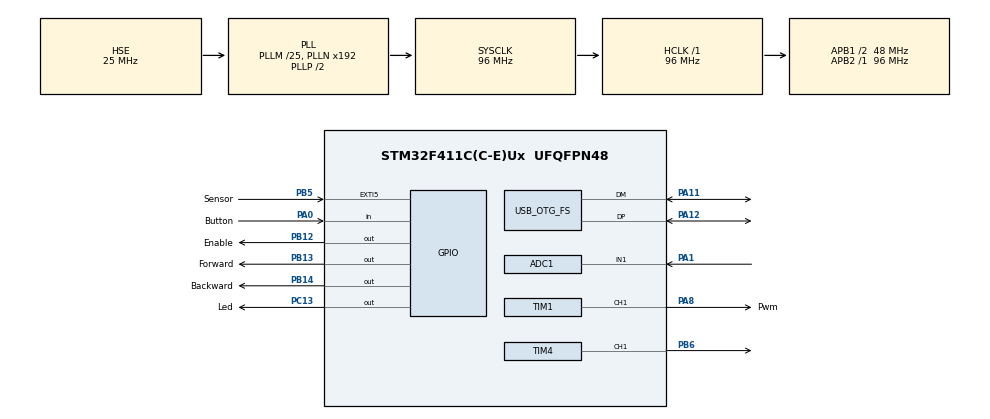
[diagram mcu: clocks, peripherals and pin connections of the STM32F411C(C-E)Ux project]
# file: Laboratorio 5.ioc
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ADC1.Channel-0\#ChannelRegularConversion=ADC_CHANNEL_1
ADC1.ContinuousConvMode=ENABLE
ADC1.NbrOfConversionFlag=1
ADC1.Rank-0\#ChannelRegularConversion=1
ADC1.SamplingTime-0\#ChannelRegularConversion=ADC_SAMPLETIME_3CYCLES
ADC1.master=1
Mcu.Family=STM32F4
Mcu.Name=STM32F411C(C-E)Ux
Mcu.Package=UFQFPN48
NVIC.OTG_FS_IRQn=true\:0\:0\:false\:false\:true\:false\:true\:true
NVIC.PriorityGroup=NVIC_PRIORITYGROUP_4
PA0-WKUP.GPIO_Label=Button
PA0-WKUP.Signal=GPIO_Input
PA1.Signal=ADCx_IN1
PA11.Mode=Device_Only
PA11.Signal=USB_OTG_FS_DM
PA12.Mode=Device_Only
PA12.Signal=USB_OTG_FS_DP
PA13.Mode=Serial_Wire
PA13.Signal=SYS_JTMS-SWDIO
PA14.Mode=Serial_Wire
PA14.Signal=SYS_JTCK-SWCLK
PA8.GPIO_Label=Pwm
PA8.Signal=S_TIM1_CH1
PB12.GPIO_Label=Enable
PB12.Signal=GPIO_Output
PB13.GPIO_Label=Forward
PB13.Signal=GPIO_Output
PB14.GPIO_Label=Backward
PB14.Signal=GPIO_Output
PB5.GPIO_Label=Sensor
PB5.Signal=GPXTI5
PB6.Signal=S_TIM4_CH1
PC13-ANTI_TAMP.GPIO_Label=Led
PC13-ANTI_TAMP.Signal=GPIO_Output
PH0\ -\ OSC_IN.Mode=HSE-External-Oscillator
PH0\ -\ OSC_IN.Signal=RCC_OSC_IN
PH1\ -\ OSC_OUT.Mode=HSE-External-Oscillator
PH1\ -\ OSC_OUT.Signal=RCC_OSC_OUT
ProjectManager.HeapSize=0x200
ProjectManager.StackSize=0x400
ProjectManager.TargetToolchain=STM32CubeIDE
RCC.48MHZClocksFreq_Value=48000000
RCC.AHBFreq_Value=96000000
RCC.APB1CLKDivider=RCC_HCLK_DIV2
RCC.APB1Freq_Value=48000000
RCC.APB1TimFreq_Value=96000000
RCC.APB2Freq_Value=96000000
RCC.APB2TimFreq_Value=96000000
RCC.CortexFreq_Value=96000000
RCC.HCLKFreq_Value=96000000
RCC.HSE_VALUE=25000000
RCC.HSI_VALUE=16000000
RCC.LSE_VALUE=32768
RCC.PLLM=25
RCC.SYSCLKFreq_VALUE=96000000
RCC.SYSCLKSource=RCC_SYSCLKSOURCE_PLLCLK
RCC.VCOOutputFreq_Value=192000000
SH.ADCx_IN1.0=ADC1_IN1,IN1
SH.S_TIM1_CH1.0=TIM1_CH1,PWM Generation1 CH1
SH.S_TIM4_CH1.0=TIM4_CH1,Output Compare1 CH1
TIM1.Channel-PWM\ Generation1\ CH1=TIM_CHANNEL_1
TIM1.Prescaler=9600
TIM2.Period=65000
TIM2.Prescaler=960
TIM3.Prescaler=9600
TIM4.AutoReloadPreload=TIM_AUTORELOAD_PRELOAD_ENABLE
TIM4.Channel-Output\ Compare1\ CH1=TIM_CHANNEL_1
TIM4.Period=50001
TIM4.Prescaler=9600
USB_DEVICE.CLASS_NAME_FS=CDC
USB_DEVICE.VirtualMode=Cdc
USB_DEVICE.VirtualModeFS=Cdc_FS
USB_OTG_FS.VirtualMode=Device_Only
VP_TIM1_VS_ClockSourceINT.Mode=Internal
VP_TIM2_VS_ClockSourceINT.Mode=Internal
VP_TIM3_VS_ClockSourceINT.Mode=Internal
VP_TIM4_VS_ClockSourceINT.Mode=Internal
VP_USB_DEVICE_VS_USB_DEVICE_CDC_FS.Mode=CDC_FS
board=custom

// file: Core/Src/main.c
/* USER CODE BEGIN Header */
/**
  ******************************************************************************
  * @file           : main.c
  * @brief          : Main program body
  ******************************************************************************
  * @attention
  *
  * Copyright (c) 2022 STMicroelectronics.
  * All rights reserved.
  *
  * This software is licensed under terms that can be found in the LICENSE file
  * in the root directory of this software component.
  * If no LICENSE file comes with this software, it is provided AS-IS.
  *
  ******************************************************************************
  */
/* USER CODE END Header */
#include "main.h"
#include "usb_device.h"

/* USER CODE BEGIN Includes */
#include "usbd_cdc_if.h"
#include "math.h"
/* USER CODE END Includes */

/* USER CODE BEGIN PTD */
#define Start 0x06
#define Stop 0x07

/* USER CODE END PTD */

/* USER CODE BEGIN PM */
void Clear();
void Send(int Cmd, int Info);
/* USER CODE END PM */

 ADC_HandleTypeDef hadc1;

TIM_HandleTypeDef htim1;
TIM_HandleTypeDef htim2;
TIM_HandleTypeDef htim3;
TIM_HandleTypeDef htim4;

/* USER CODE BEGIN PV */
double Time,ValT;
uint8_t texto[32],SendFlag=0,AuxLen=0,contador=90;
int rpm=0,Flag=0,Sensorcounter=0,ft=0,st,Aux=0,pwm=0,Current=0;
/* USER CODE END PV */

void SystemClock_Config(void);
static void MX_GPIO_Init(void);
static void MX_ADC1_Init(void);
static void MX_TIM1_Init(void);
static void MX_TIM2_Init(void);
static void MX_TIM3_Init(void);
static void MX_TIM4_Init(void);

int main(void)
{

  /* MCU Configuration--------------------------------------------------------*/

  /* Reset of all peripherals, Initializes the Flash interface and the Systick. */
  HAL_Init();

  /* Configure the system clock */
  SystemClock_Config();

  /* Initialize all configured peripherals */
  MX_GPIO_Init();
  MX_ADC1_Init();
  MX_TIM1_Init();
  MX_USB_DEVICE_Init();
  MX_TIM2_Init();
  MX_TIM3_Init();
  MX_TIM4_Init();
  /* USER CODE BEGIN 2 */
  HAL_TIM_Base_Start(&htim2);
  HAL_TIM_Base_Start(&htim3);
  HAL_TIM_Base_Start(&htim4);
  HAL_TIM_PWM_Start_IT(&htim1, TIM_CHANNEL_1);
  HAL_ADC_Start(&hadc1);

  /* USER CODE END 2 */

  /* Infinite loop */
  /* USER CODE BEGIN WHILE */
  while (1)
  {
	  if(SendFlag==1){
		  if(ValT>=5000){
			  ValT=5000;
			  if(__HAL_TIM_GET_COUNTER(&htim4)>=(ValT*10)){
				  Time-=ValT;
				  ValT=Time;
				  __HAL_TIM_SET_COUNTER(&htim4, 0);
			  }
		  }
		  else{
			  if(__HAL_TIM_GET_COUNTER(&htim4)>=(ValT*10)){
				  __HAL_TIM_SET_COUNTER(&htim4, 0);
				  Clear();
			  }
		  }
		  if(__HAL_TIM_GET_COUNTER(&htim3)>=(1000) ){	//100ms
			  Current=HAL_ADC_GetValue(&hadc1);
			  Send(01,pwm);
			  HAL_Delay(5);
			  Send(02,rpm);
			  //Send(03,Current);
			  __HAL_TIM_SET_COUNTER(&htim3, 0);
		  }
	  }

	  /*if(HAL_GPIO_ReadPin(Sensor_GPIO-_Port, Sensor_Pin)==1){
		  Sensorcounter++;
		  CDC_Transmit_FS(texto,strlen(texto));
		  HAL_Delay(10);
	  }*/

    /* USER CODE END WHILE */

  }
}

void SystemClock_Config(void)
{
  RCC_OscInitTypeDef RCC_OscInitStruct = {0};
  RCC_ClkInitTypeDef RCC_ClkInitStruct = {0};

  /** Configure the main internal regulator output voltage
  */
  __HAL_RCC_PWR_CLK_ENABLE();
  __HAL_PWR_VOLTAGESCALING_CONFIG(PWR_REGULATOR_VOLTAGE_SCALE1);

  /** Initializes the RCC Oscillators according to the specified parameters
  * in the RCC_OscInitTypeDef structure.
  */
  RCC_OscInitStruct.OscillatorType = RCC_OSCILLATORTYPE_HSE;
  RCC_OscInitStruct.HSEState = RCC_HSE_ON;
  RCC_OscInitStruct.PLL.PLLState = RCC_PLL_ON;
  RCC_OscInitStruct.PLL.PLLSource = RCC_PLLSOURCE_HSE;
  RCC_OscInitStruct.PLL.PLLM = 25;
  RCC_OscInitStruct.PLL.PLLN = 192;
  RCC_OscInitStruct.PLL.PLLP = RCC_PLLP_DIV2;
  RCC_OscInitStruct.PLL.PLLQ = 4;
  if (HAL_RCC_OscConfig(&RCC_OscInitStruct) != HAL_OK)
  {
    Error_Handler();
  }

  /** Initializes the CPU, AHB and APB buses clocks
  */
  RCC_ClkInitStruct.ClockType = RCC_CLOCKTYPE_HCLK|RCC_CLOCKTYPE_SYSCLK
                              |RCC_CLOCKTYPE_PCLK1|RCC_CLOCKTYPE_PCLK2;
  RCC_ClkInitStruct.SYSCLKSource = RCC_SYSCLKSOURCE_PLLCLK;
  RCC_ClkInitStruct.AHBCLKDivider = RCC_SYSCLK_DIV1;
  RCC_ClkInitStruct.APB1CLKDivider = RCC_HCLK_DIV2;
  RCC_ClkInitStruct.APB2CLKDivider = RCC_HCLK_DIV1;

  if (HAL_RCC_ClockConfig(&RCC_ClkInitStruct, FLASH_LATENCY_3) != HAL_OK)
  {
    Error_Handler();
  }
}

static void MX_ADC1_Init(void)
{

  ADC_ChannelConfTypeDef sConfig = {0};

  /** Configure the global features of the ADC (Clock, Resolution, Data Alignment and number of conversion)
  */
  hadc1.Instance = ADC1;
  hadc1.Init.ClockPrescaler = ADC_CLOCK_SYNC_PCLK_DIV4;
  hadc1.Init.Resolution = ADC_RESOLUTION_12B;
  hadc1.Init.ScanConvMode = DISABLE;
  hadc1.Init.ContinuousConvMode = ENABLE;
  hadc1.Init.DiscontinuousConvMode = DISABLE;
  hadc1.Init.ExternalTrigConvEdge = ADC_EXTERNALTRIGCONVEDGE_NONE;
  hadc1.Init.ExternalTrigConv = ADC_SOFTWARE_START;
  hadc1.Init.DataAlign = ADC_DATAALIGN_RIGHT;
  hadc1.Init.NbrOfConversion = 1;
  hadc1.Init.DMAContinuousRequests = DISABLE;
  hadc1.Init.EOCSelection = ADC_EOC_SINGLE_CONV;
  if (HAL_ADC_Init(&hadc1) != HAL_OK)
  {
    Error_Handler();
  }

  /** Configure for the selected ADC regular channel its corresponding rank in the sequencer and its sample time.
  */
  sConfig.Channel = ADC_CHANNEL_1;
  sConfig.Rank = 1;
  sConfig.SamplingTime = ADC_SAMPLETIME_3CYCLES;
  if (HAL_ADC_ConfigChannel(&hadc1, &sConfig) != HAL_OK)
  {
    Error_Handler();
  }

}

static void MX_TIM1_Init(void)
{

  TIM_ClockConfigTypeDef sClockSourceConfig = {0};
  TIM_MasterConfigTypeDef sMasterConfig = {0};
  TIM_OC_InitTypeDef sConfigOC = {0};
  TIM_BreakDeadTimeConfigTypeDef sBreakDeadTimeConfig = {0};

  htim1.Instance = TIM1;
  htim1.Init.Prescaler = 9600;
  htim1.Init.CounterMode = TIM_COUNTERMODE_UP;
  htim1.Init.Period = 65535;
  htim1.Init.ClockDivision = TIM_CLOCKDIVISION_DIV1;
  htim1.Init.RepetitionCounter = 0;
  htim1.Init.AutoReloadPreload = TIM_AUTORELOAD_PRELOAD_DISABLE;
  if (HAL_TIM_Base_Init(&htim1) != HAL_OK)
  {
    Error_Handler();
  }
  sClockSourceConfig.ClockSource = TIM_CLOCKSOURCE_INTERNAL;
  if (HAL_TIM_ConfigClockSource(&htim1, &sClockSourceConfig) != HAL_OK)
  {
    Error_Handler();
  }
  if (HAL_TIM_PWM_Init(&htim1) != HAL_OK)
  {
    Error_Handler();
  }
  sMasterConfig.MasterOutputTrigger = TIM_TRGO_RESET;
  sMasterConfig.MasterSlaveMode = TIM_MASTERSLAVEMODE_DISABLE;
  if (HAL_TIMEx_MasterConfigSynchronization(&htim1, &sMasterConfig) != HAL_OK)
  {
    Error_Handler();
  }
  sConfigOC.OCMode = TIM_OCMODE_PWM1;
  sConfigOC.Pulse = 0;
  sConfigOC.OCPolarity = TIM_OCPOLARITY_HIGH;
  sConfigOC.OCNPolarity = TIM_OCNPOLARITY_HIGH;
  sConfigOC.OCFastMode = TIM_OCFAST_DISABLE;
  sConfigOC.OCIdleState = TIM_OCIDLESTATE_RESET;
  sConfigOC.OCNIdleState = TIM_OCNIDLESTATE_RESET;
  if (HAL_TIM_PWM_ConfigChannel(&htim1, &sConfigOC, TIM_CHANNEL_1) != HAL_OK)
  {
    Error_Handler();
  }
  sBreakDeadTimeConfig.OffStateRunMode = TIM_OSSR_DISABLE;
  sBreakDeadTimeConfig.OffStateIDLEMode = TIM_OSSI_DISABLE;
  sBreakDeadTimeConfig.LockLevel = TIM_LOCKLEVEL_OFF;
  sBreakDeadTimeConfig.DeadTime = 0;
  sBreakDeadTimeConfig.BreakState = TIM_BREAK_DISABLE;
  sBreakDeadTimeConfig.BreakPolarity = TIM_BREAKPOLARITY_HIGH;
  sBreakDeadTimeConfig.AutomaticOutput = TIM_AUTOMATICOUTPUT_DISABLE;
  if (HAL_TIMEx_ConfigBreakDeadTime(&htim1, &sBreakDeadTimeConfig) != HAL_OK)
  {
    Error_Handler();
  }
  HAL_TIM_MspPostInit(&htim1);

}

static void MX_TIM2_Init(void)
{

  TIM_ClockConfigTypeDef sClockSourceConfig = {0};
  TIM_MasterConfigTypeDef sMasterConfig = {0};

  htim2.Instance = TIM2;
  htim2.Init.Prescaler = 960;
  htim2.Init.CounterMode = TIM_COUNTERMODE_UP;
  htim2.Init.Period = 65000;
  htim2.Init.ClockDivision = TIM_CLOCKDIVISION_DIV1;
  htim2.Init.AutoReloadPreload = TIM_AUTORELOAD_PRELOAD_DISABLE;
  if (HAL_TIM_Base_Init(&htim2) != HAL_OK)
  {
    Error_Handler();
  }
  sClockSourceConfig.ClockSource = TIM_CLOCKSOURCE_INTERNAL;
  if (HAL_TIM_ConfigClockSource(&htim2, &sClockSourceConfig) != HAL_OK)
  {
    Error_Handler();
  }
  sMasterConfig.MasterOutputTrigger = TIM_TRGO_RESET;
  sMasterConfig.MasterSlaveMode = TIM_MASTERSLAVEMODE_DISABLE;
  if (HAL_TIMEx_MasterConfigSynchronization(&htim2, &sMasterConfig) != HAL_OK)
  {
    Error_Handler();
  }

}

static void MX_TIM3_Init(void)
{

  TIM_ClockConfigTypeDef sClockSourceConfig = {0};
  TIM_MasterConfigTypeDef sMasterConfig = {0};

  htim3.Instance = TIM3;
  htim3.Init.Prescaler = 9600;
  htim3.Init.CounterMode = TIM_COUNTERMODE_UP;
  htim3.Init.Period = 65535;
  htim3.Init.ClockDivision = TIM_CLOCKDIVISION_DIV1;
  htim3.Init.AutoReloadPreload = TIM_AUTORELOAD_PRELOAD_DISABLE;
  if (HAL_TIM_Base_Init(&htim3) != HAL_OK)
  {
    Error_Handler();
  }
  sClockSourceConfig.ClockSource = TIM_CLOCKSOURCE_INTERNAL;
  if (HAL_TIM_ConfigClockSource(&htim3, &sClockSourceConfig) != HAL_OK)
  {
    Error_Handler();
  }
  sMasterConfig.MasterOutputTrigger = TIM_TRGO_RESET;
  sMasterConfig.MasterSlaveMode = TIM_MASTERSLAVEMODE_DISABLE;
  if (HAL_TIMEx_MasterConfigSynchronization(&htim3, &sMasterConfig) != HAL_OK)
  {
    Error_Handler();
  }

}

static void MX_TIM4_Init(void)
{

  TIM_ClockConfigTypeDef sClockSourceConfig = {0};
  TIM_MasterConfigTypeDef sMasterConfig = {0};
  TIM_OC_InitTypeDef sConfigOC = {0};

  htim4.Instance = TIM4;
  htim4.Init.Prescaler = 9600;
  htim4.Init.CounterMode = TIM_COUNTERMODE_UP;
  htim4.Init.Period = 50001;
  htim4.Init.ClockDivision = TIM_CLOCKDIVISION_DIV1;
  htim4.Init.AutoReloadPreload = TIM_AUTORELOAD_PRELOAD_ENABLE;
  if (HAL_TIM_Base_Init(&htim4) != HAL_OK)
  {
    Error_Handler();
  }
  sClockSourceConfig.ClockSource = TIM_CLOCKSOURCE_INTERNAL;
  if (HAL_TIM_ConfigClockSource(&htim4, &sClockSourceConfig) != HAL_OK)
  {
    Error_Handler();
  }
  if (HAL_TIM_OC_Init(&htim4) != HAL_OK)
  {
    Error_Handler();
  }
  sMasterConfig.MasterOutputTrigger = TIM_TRGO_RESET;
  sMasterConfig.MasterSlaveMode = TIM_MASTERSLAVEMODE_DISABLE;
  if (HAL_TIMEx_MasterConfigSynchronization(&htim4, &sMasterConfig) != HAL_OK)
  {
    Error_Handler();
  }
  sConfigOC.OCMode = TIM_OCMODE_TIMING;
  sConfigOC.Pulse = 0;
  sConfigOC.OCPolarity = TIM_OCPOLARITY_HIGH;
  sConfigOC.OCFastMode = TIM_OCFAST_DISABLE;
  if (HAL_TIM_OC_ConfigChannel(&htim4, &sConfigOC, TIM_CHANNEL_1) != HAL_OK)
  {
    Error_Handler();
  }
  HAL_TIM_MspPostInit(&htim4);

}

static void MX_GPIO_Init(void)
{
  GPIO_InitTypeDef GPIO_InitStruct = {0};

  /* GPIO Ports Clock Enable */
  __HAL_RCC_GPIOC_CLK_ENABLE();
  __HAL_RCC_GPIOH_CLK_ENABLE();
  __HAL_RCC_GPIOA_CLK_ENABLE();
  __HAL_RCC_GPIOB_CLK_ENABLE();

  /*Configure GPIO pin Output Level */
  HAL_GPIO_WritePin(Led_GPIO_Port, Led_Pin, GPIO_PIN_RESET);

  /*Configure GPIO pin Output Level */
  HAL_GPIO_WritePin(GPIOB, Enable_Pin|Forward_Pin|Backward_Pin, GPIO_PIN_RESET);

  /*Configure GPIO pin : Led_Pin */
  GPIO_InitStruct.Pin = Led_Pin;
  GPIO_InitStruct.Mode = GPIO_MODE_OUTPUT_PP;
  GPIO_InitStruct.Pull = GPIO_NOPULL;
  GPIO_InitStruct.Speed = GPIO_SPEED_FREQ_LOW;
  HAL_GPIO_Init(Led_GPIO_Port, &GPIO_InitStruct);

  /*Configure GPIO pin : Button_Pin */
  GPIO_InitStruct.Pin = Button_Pin;
  GPIO_InitStruct.Mode = GPIO_MODE_INPUT;
  GPIO_InitStruct.Pull = GPIO_NOPULL;
  HAL_GPIO_Init(Button_GPIO_Port, &GPIO_InitStruct);

  /*Configure GPIO pins : Enable_Pin Forward_Pin Backward_Pin */
  GPIO_InitStruct.Pin = Enable_Pin|Forward_Pin|Backward_Pin;
  GPIO_InitStruct.Mode = GPIO_MODE_OUTPUT_PP;
  GPIO_InitStruct.Pull = GPIO_NOPULL;
  GPIO_InitStruct.Speed = GPIO_SPEED_FREQ_LOW;
  HAL_GPIO_Init(GPIOB, &GPIO_InitStruct);

  /*Configure GPIO pin : Sensor_Pin */
  GPIO_InitStruct.Pin = Sensor_Pin;
  GPIO_InitStruct.Mode = GPIO_MODE_IT_RISING;
  GPIO_InitStruct.Pull = GPIO_NOPULL;
  HAL_GPIO_Init(Sensor_GPIO_Port, &GPIO_InitStruct);

}

/* USER CODE BEGIN 4 */

void Clear(){
	//rpm=0;
	pwm=0;
	Time=0;
	TIM1->CCR1=0;
}
void Send(int Cmd, int Info){

	//Cmd=0  Rpm
	//Cmd=1	 mA
	int Size=0x00,Parity=0,Contador=0;
	uint8_t *Data;

	if(Info<256){
		Size=0x01;
		Data=(uint8_t*)malloc(6*sizeof(int));
		Data[3]=Info;
	}
	else{
		Size=0x02;
		Data=(uint8_t*)malloc(7*sizeof(int));
		Data[3]=0x00FF & (Info >> 8);
		Data[4]=0x00FF & Info;
	}
	Data[0]=Start;
	Data[1]=Size;
	Data[2]=Cmd;
	for(Contador=0;Contador<Size+3;Contador++){
		Parity^=Data[Contador];
	}
	Data[Size+3]=Parity;
	Data[Size+4]=Stop;

	Contador=sizeof(Data);
	CDC_Transmit_FS(Data,Size+5);
	free(Data);
}

void CDC_ReceiveCallBack(uint8_t* Buf, uint32_t Len){
	int Cmd,Aux,Parity=0,Size;
	double Temp=0;
	for(Aux=0;Aux<=Len;Aux++){
		Temp=Buf[Aux];
	}

	if(Buf[0]==Start && Buf[Len-1]==Stop){ //Protocolo
		Size=Buf[1];
		Cmd=Buf[2];
		if(Size==1){
			Temp=Buf[3];
		}
		else if(Size==2){
			Temp=(Buf[3]<< 8) | Buf[4];
		}
		for(Aux=0;Aux<Size+3;Aux++){
			Parity^=Buf[Aux];
		}
		Aux=Buf[Size+3];
		if(Buf[Size+3]==Parity){
			if(Cmd==1){ //Le pide a la STM enviar Info
				SendFlag=1;
			}
			else if(Cmd==0){ //Le pide que deje de enviar Info
				SendFlag=0;
			}
			else if(Cmd==2){ //Porcentaje PWM
				pwm=Temp;
				HAL_GPIO_WritePin(Enable_GPIO_Port, Enable_Pin, SET);
				TIM1->CCR1=650*pwm;
			}
			else if(Cmd==3){    //RPM  Suponiendo q el TIM1 al máximo tiene una salida de 2000rpm
				rpm=Temp;
				TIM1->CCR1=(Temp*650/2);
			}
			else if(Cmd==4){ //Tiempo de envio en 100 ms
				__HAL_TIM_SET_COUNTER(&htim4,0);
				Time=Temp;
				ValT=Time;
			}
			else if(Cmd==42){		//PWM y Tiempo
				__HAL_TIM_SET_COUNTER(&htim4,0);
				Time=Temp;
				pwm=Buf[Len-3];
				HAL_GPIO_WritePin(Enable_GPIO_Port, Enable_Pin, SET);
				TIM1->CCR1=650*pwm;
			}
		}
	}
}

void HAL_GPIO_EXTI_Callback(uint16_t GPIO_Pin){
	if(GPIO_Pin==Sensor_Pin){
		if(Flag==0){
			__HAL_TIM_SET_COUNTER(&htim2, 0);
			Flag=1;
		}
		else{
			st=__HAL_TIM_GET_COUNTER(&htim2);
			rpm=10000*30/st;//			120/100000

			Flag=0;
		}
		ft++;
	}
}
/* USER CODE END 4 */

void Error_Handler(void)
{
  __disable_irq();
  while (1)
  {
  }
}
